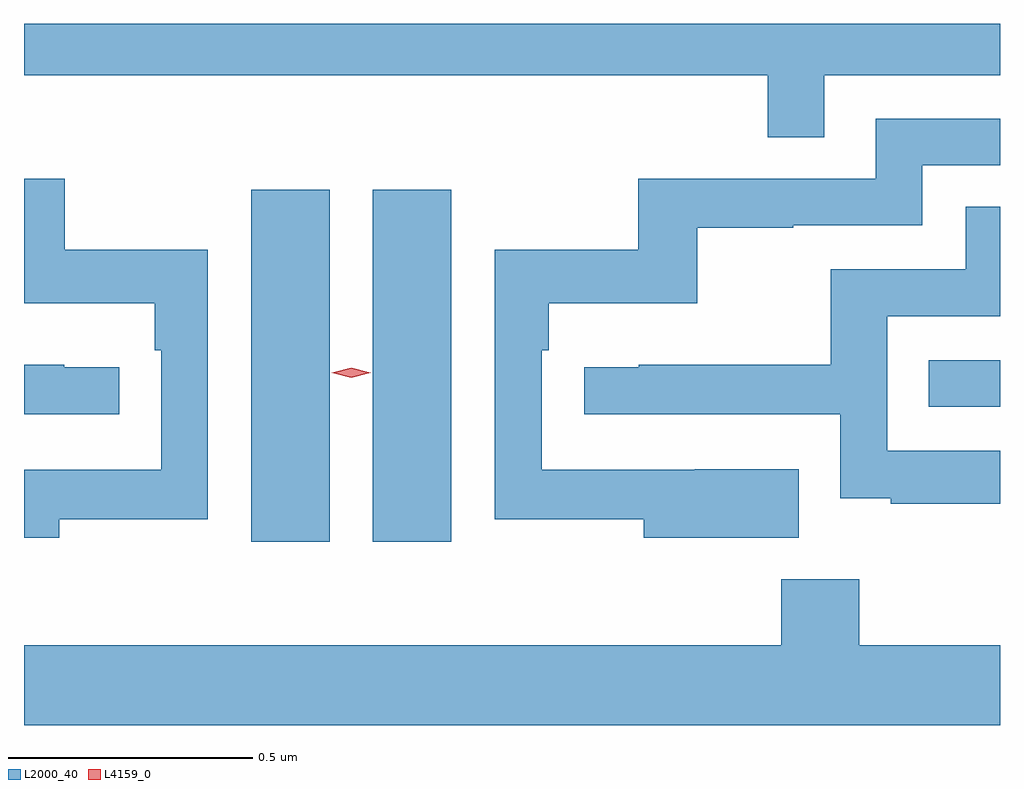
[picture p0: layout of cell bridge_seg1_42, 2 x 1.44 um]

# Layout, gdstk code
import gdstk
lib = gdstk.Library(unit=1e-6, precision=1e-09)
def R(c, l, rs):  # rectangles x0, y0, x1, y1
    for r in rs: c.add(gdstk.rectangle(r[:2], r[2:], *l))
def P(c, l, *ps):  # polygons
    for p in ps: c.add(gdstk.Polygon(p, *l))
L2000_40 = (2000, 40)
L4159_0 = (4159, 0)

bridge_seg1_42 = lib.new_cell('bridge_seg1_42')
R(bridge_seg1_42, L2000_40, [(1025.579,540.12,1025.74,540.841), (1025.828,540.12,1025.989,540.841), (1026.967,540.396,1027.113,540.492)])
P(bridge_seg1_42, L2000_40, [(1026.753,541.076),(1027.113,541.076),(1027.113,541.181),(1025.113,541.181),(1025.113,541.076),(1026.637,541.076),(1026.637,540.949),(1026.753,540.949)],
  [(1026.701,540.268),(1026.487,540.268),(1026.487,540.267),(1026.174,540.267),(1026.174,540.512),(1026.188,540.512),(1026.188,540.608),(1026.493,540.608),(1026.493,540.763),(1026.689,540.763),(1026.689,540.768),(1026.954,540.768),(1026.954,540.891),(1027.113,540.891),(1027.113,540.987),(1026.858,540.987),(1026.858,540.864),(1026.372,540.864),(1026.372,540.718),(1026.078,540.718),(1026.078,540.166),(1026.383,540.166),(1026.383,540.128),(1026.701,540.128)],
  [(1025.185,540.166),(1025.49,540.166),(1025.49,540.718),(1025.197,540.718),(1025.197,540.864),(1025.113,540.864),(1025.113,540.608),(1025.381,540.608),(1025.381,540.512),(1025.394,540.512),(1025.394,540.267),(1025.113,540.267),(1025.113,540.128),(1025.185,540.128)],
  [(1027.113,540.306),(1026.882,540.306),(1026.882,540.582),(1027.113,540.582),(1027.113,540.806),(1027.043,540.806),(1027.043,540.678),(1026.766,540.678),(1026.766,540.482),(1026.373,540.482),(1026.373,540.477),(1026.261,540.477),(1026.261,540.381),(1026.786,540.381),(1026.786,540.209),(1026.889,540.209),(1026.889,540.198),(1027.113,540.198)],
  [(1025.308,540.477),(1025.195,540.477),(1025.195,540.482),(1025.113,540.482),(1025.113,540.381),(1025.308,540.381)],
  [(1027.113,539.908),(1026.825,539.908),(1026.825,540.043),(1026.665,540.043),(1026.665,539.908),(1025.113,539.908),(1025.113,539.744),(1027.113,539.744)])
P(bridge_seg1_42, L4159_0, [(1025.784,540.456),(1025.744,540.466),(1025.744,540.466),(1025.744,540.466),(1025.784,540.476),(1025.824,540.466),(1025.824,540.466),(1025.824,540.466)])

lib.write_gds('bridge_seg1_42.gds')
